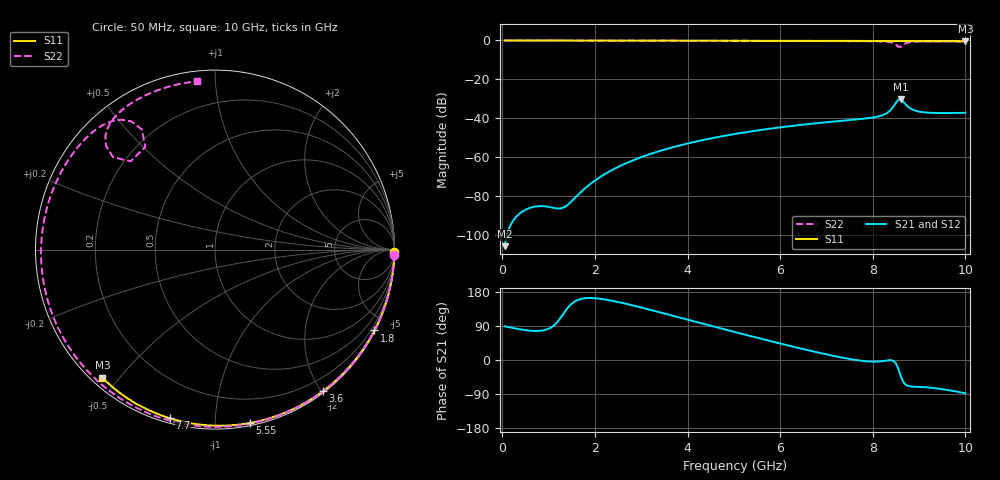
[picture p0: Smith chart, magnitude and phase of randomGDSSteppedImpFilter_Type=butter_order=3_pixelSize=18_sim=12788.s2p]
! freq	dB(S11)	phase(S11)	dB(S12)	phase(S12)
!  dB(S21)	phase(S21)	dB(S22)	phase(S22)
!S-par simulation data
#  GHz  S  DB  R 50
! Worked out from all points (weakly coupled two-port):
!   200 points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, 50 MHz to 10 GHz, reference 50 ohm
!   highest |S21| = -30.26 dB at 8.6 GHz (marker M1); lowest = -106.0 dB at 50 MHz (marker M2)
!   lowest |S11| = -0.4 dB at 10 GHz (marker M3), VSWR 39.39, Z = 1.53 - j22.6 ohm
!   |S11| at or under -10 dB: nowhere
!   |S22| runs from -3.3 to 0.0 dB; largest |S21 - S12| = 0
!   S11 on the Smith chart (normalised r, x): 50 MHz: open; 1.8 GHz: 0.04, -4.18; 3.6 GHz: 0.02, -2.02; 5.55 GHz: 0.02, -1.22; 7.7 GHz: 0.02, -0.77; 10 GHz: 0.03, -0.45
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0.05  -0.00 -0.8  -105.99 89.1  -105.99 89.1  -0.00 -1.8
0.75  -0.01 -11.3  -85.46 76.7  -85.46 76.7  -0.03 -26.6
1.6  -0.03 -24.0  -80.36 156.7  -80.36 156.7  -0.07 -55.3
1.75  -0.03 -26.2  -76.95 162.4  -76.95 162.4  -0.07 -60.2
1.8  -0.03 -26.9  -75.90 163.2  -75.90 163.2  -0.08 -61.8
2.45  -0.05 -36.4  -65.77 154.3  -65.77 154.3  -0.10 -81.9
3.4  -0.07 -49.8  -56.95 125.9  -56.95 125.9  -0.13 -108.8
3.6  -0.07 -52.6  -55.56 119.5  -55.56 119.5  -0.14 -114.2
4.35  -0.09 -62.8  -51.22 95.3  -51.22 95.3  -0.17 -133.3
5.05  -0.11 -72.1  -48.08 72.9  -48.08 72.9  -0.20 -150.1
5.55  -0.13 -78.6  -46.22 57.3  -46.22 57.3  -0.22 -161.8
6.7  -0.18 -92.9  -42.85 23.1  -42.85 23.1  -0.29 171.9
7.7  -0.24 -104.9  -40.56 -1.1  -40.56 -1.1  -0.38 148.2
8.15  -0.27 -110.2  -38.94 -3.8  -38.94 -3.8  -0.50 135.8
8.35  -0.29 -112.5  -36.61 -0.6  -36.61 -0.6  -0.78 128.3
8.5  -0.31 -114.2  -32.15 -8.9  -32.15 -8.9  -2.12 121.3
8.55  -0.31 -114.8  -30.58 -22.5  -30.58 -22.5  -3.21 124.2
8.6  -0.31 -115.3  -30.26 -41.0  -30.26 -41.0  -3.34 133.7
8.7  -0.31 -116.5  -32.68 -64.0  -32.68 -64.0  -1.53 136.4
8.85  -0.32 -118.2  -35.49 -70.1  -35.49 -70.1  -0.76 129.4
9  -0.34 -120.0  -36.65 -70.7  -36.65 -70.7  -0.59 123.9
10  -0.44 -131.3  -37.27 -87.6  -37.27 -87.6  -0.51 96.2
